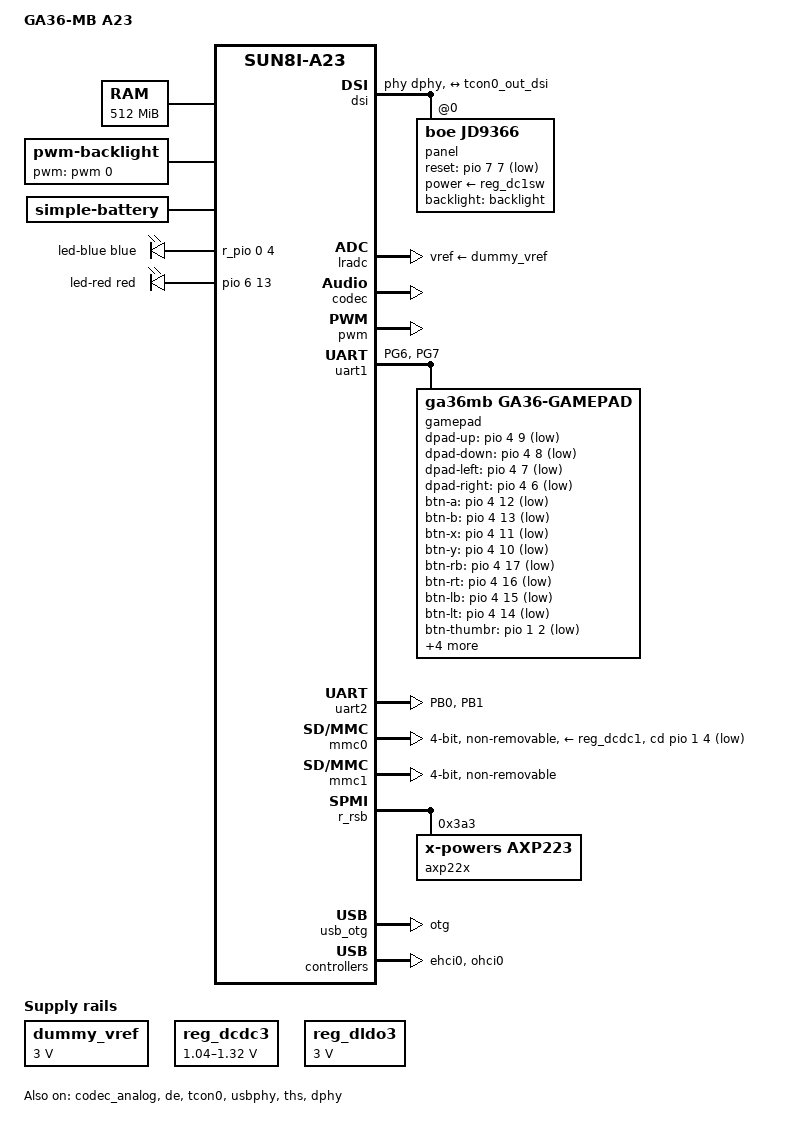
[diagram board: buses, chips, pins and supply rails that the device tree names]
/dts-v1/;
#include "sun8i-a23.dtsi"
#include <dt-bindings/input/linux-event-codes.h>
#include <dt-bindings/gpio/gpio.h>
#include <dt-bindings/leds/common.h>

/ {
    model = "GA36-MB A23";
    compatible = "ga36mb,ga36mb-a23-handheld",
    "allwinner,sun8i-a23";

    aliases {
        /* Map ttyS0 to UART1 and ttyS1 to UART2 */
        serial0 = &uart1;
        serial1 = &uart2;

        mmc0 = &mmc0;
        mmc1 = &mmc1;
    };
    chosen {
        /* Point default output to serial1 (UART2) */
        stdout-path = "serial1:115200n8";
    };
    memory@40000000 {
        device_type = "memory";
        reg = <0x40000000 0x20000000>; /* VERIFY */
    };

    soc {
        ths: ths@1c25000 {
			compatible = "allwinner,sun8i-a33-ths";
			reg = <0x01c25000 0x100>;
			#thermal-sensor-cells = <0>;
			#io-channel-cells = <0>;
		};

		dsi: dsi@1ca0000 {
			compatible = "allwinner,sun6i-a31-mipi-dsi";
			reg = <0x01ca0000 0x1000>;
			interrupts = <GIC_SPI 89 IRQ_TYPE_LEVEL_HIGH>;
			clocks = <&ccu CLK_BUS_MIPI_DSI>,
				 <&ccu CLK_DSI_SCLK>;
			clock-names = "bus", "mod";
			resets = <&ccu RST_BUS_MIPI_DSI>;
			phys = <&dphy>;
			phy-names = "dphy";
			status = "disabled";
			#address-cells = <1>;
			#size-cells = <0>;

			port {
				dsi_in_tcon0: endpoint {
					remote-endpoint = <&tcon0_out_dsi>;
				};
			};
		};

		dphy: d-phy@1ca1000 {
			compatible = "allwinner,sun6i-a31-mipi-dphy";
			reg = <0x01ca1000 0x1000>;
			interrupts = <GIC_SPI 89 IRQ_TYPE_LEVEL_HIGH>;
			clocks = <&ccu CLK_BUS_MIPI_DSI>,
				 <&ccu CLK_DSI_DPHY>;
			clock-names = "bus", "mod";
			resets = <&ccu RST_BUS_MIPI_DSI>;
			status = "disabled";
			#phy-cells = <0>;
		};
    };

    backlight: backlight {
        compatible = "pwm-backlight";
        pwms = <&pwm 0 50000 0>; /* fex: lcd_pwm_ch = 0, lcd_pwm_freq = 20000 Hz -> 50000 ns, lcd_pwm_pol = 0 -> non-inverted */
        brightness-levels = <0 10 20 30 40 50 60 70 80 90 100>;
        default-brightness-level = <5>;	/* fex: lcd0_bright = 50 */
        //power-supply = <&reg_dc1sw>;	/* fex: lcd_power = axp22_dc1sw */
    };

    bat: battery {
        compatible = "simple-battery";
        charge-full-design-microamp-hours = <3000000>; /* fex: pmu_battery_cap = 3000 */
        factory-internal-resistance-micro-ohms = <119000>; /* fex: pmu_battery_rdc = 119 */

        /* Standard lipo battery extrema. I didn't pull this from the fex but every cheap lipo ever has these same values. */
        voltage-max-design-microvolt = <4200000>; /* 4.2V fully charged */
        voltage-min-design-microvolt = <3300000>; /* 3.3V safe cutoff */
    };

    dummy_vref: dummy-lradc-vref {
        /* Needed for the `lradc` node to function */
		compatible = "regulator-fixed";
		regulator-name = "dummy-lradc-vref";
		regulator-min-microvolt = <3000000>;
		regulator-max-microvolt = <3000000>;
	};

	leds {
        compatible = "gpio-leds";

        led-blue {
            function = LED_FUNCTION_STATUS;
            color = <LED_COLOR_ID_BLUE>;
            gpios = <&r_pio 0 4 GPIO_ACTIVE_HIGH>;
            default-state = "off";
        };

        led-red {
            function = LED_FUNCTION_INDICATOR;
            color = <LED_COLOR_ID_RED>;
            gpios = <&pio 6 13 GPIO_ACTIVE_HIGH>;
            default-state = "off";
        };
    };

};

&tcon0_out {
	#address-cells = <1>;
	#size-cells = <0>;

	tcon0_out_dsi: endpoint@1 {
		reg = <1>;
		remote-endpoint = <&dsi_in_tcon0>;
	};
};

/* Volume buttons */
&lradc {
	vref-supply = <&dummy_vref>;
	status = "okay";
    autorepeat;

	button-200 {
		label = "Volume Up Key";
		linux,code = <115>; /* KEY_VOLUMEUP */
		channel = <0>;
		voltage = <200000>;
	};

	button-400 {
		label = "Volume Down Key";
		linux,code = <114>; /* KEY_VOLUMEDOWN */
		channel = <0>;
		voltage = <400000>;
	};
};


&ths {
    status = "okay";
};

&codec {
    status = "okay";
    allwinner,audio-routing = "Speaker", "HP";
    allwinner,pa-gpios = <&pio 7 9 GPIO_ACTIVE_HIGH>; /* PH09 */
};

&codec_analog {
	status = "okay";
};

&pwm {
    pinctrl-names = "default";
    pinctrl-0 = <&pwm0_pin>;	/* PH0, fex [pwm0_para] */
    status = "okay";
};

&pio {
    /* I think this is correct? */
    vcc-pf-supply = <&reg_dcdc1>;
    vcc-pg-supply = <&reg_dcdc1>;
    vcc-ph-supply = <&reg_dcdc1>;
    vcc-pb-supply = <&reg_dcdc1>;

    uart1_pg_pins: uart1-pg-pins {
        pins = "PG6", "PG7";
        function = "uart1";
    };

    uart2_pb_pins: uart2-pb-pins {
        pins = "PB0", "PB1";
        function = "uart2";
    };

    usb0_id_det_pin: usb0-id-det-pin {
        pins = "PH8";
        function = "gpio_in";
        bias-pull-up;
    };
};

&dsi {
    status = "okay";
    vcc-dsi-supply = <&reg_dldo3>;

    panel@0 {
        compatible = "boe,jd9366";
        panel-id = <1>;
        reg = <0>;
        power-supply = <&reg_dc1sw>;
        reset-gpios = <&pio 7 7 GPIO_ACTIVE_LOW>;
        backlight = <&backlight>;
    };
};

&de {
    status = "okay";
};

&tcon0 {
    status = "okay";
};

&dphy {
    status = "okay";
    vcc-supply = <&reg_dldo3>;
};

&uart1 {
    pinctrl-names = "default";
    pinctrl-0 = <&uart1_pg_pins>;
    status = "okay";

    gamepad: serial-gamepad {
        compatible = "ga36mb,ga36-gamepad";

        dpad-up-gpios = <&pio 4 9 GPIO_ACTIVE_LOW>;
        dpad-down-gpios = <&pio 4 8 GPIO_ACTIVE_LOW>;
        dpad-left-gpios = <&pio 4 7 GPIO_ACTIVE_LOW>;
        dpad-right-gpios = <&pio 4 6 GPIO_ACTIVE_LOW>;
        btn-a-gpios = <&pio 4 12 GPIO_ACTIVE_LOW>;
        btn-b-gpios = <&pio 4 13 GPIO_ACTIVE_LOW>;
        btn-x-gpios = <&pio 4 11 GPIO_ACTIVE_LOW>;
        btn-y-gpios = <&pio 4 10 GPIO_ACTIVE_LOW>;
        btn-rb-gpios = <&pio 4 17 GPIO_ACTIVE_LOW>;
        btn-rt-gpios = <&pio 4 16 GPIO_ACTIVE_LOW>;
        btn-lb-gpios = <&pio 4 15 GPIO_ACTIVE_LOW>;
        btn-lt-gpios = <&pio 4 14 GPIO_ACTIVE_LOW>;
        btn-thumbr-gpios = <&pio 1 2 GPIO_ACTIVE_LOW>;
        btn-thumbl-gpios = <&pio 1 3 GPIO_ACTIVE_LOW>;
        btn-start-gpios = <&pio 4 4 GPIO_ACTIVE_LOW>;
        btn-select-gpios = <&pio 4 5 GPIO_ACTIVE_LOW>;
        btn-fn-gpios = <&pio 4 1 GPIO_ACTIVE_LOW>;

        /*
         * Both left stick axes are inverted by the driver by default.
         * Uncomment to report an axis as-is on units where it is not inverted.
         */
        // ga36mb,left-stick-no-invert-x;
        // ga36mb,left-stick-no-invert-y;
    };
};

&uart2 {
    pinctrl-names = "default";
    pinctrl-0 = <&uart2_pb_pins>;
    status = "okay";
};

&mmc0 {
    pinctrl-names = "default";
    non-removable;
    bus-width = <4>;
    cd-gpios = <&pio 1 4 GPIO_ACTIVE_LOW>;
    pinctrl-0 = <&mmc0_pins>;
    vmmc-supply = <&reg_dcdc1>;
    status = "okay";
};
&mmc1 {
    bus-width = <4>;
    non-removable;
    pinctrl-names = "default";
    pinctrl-0 = <&mmc1_pg_pins>;
    status = "okay";
};

&r_rsb_pins {
    bias-pull-up;
};

&r_rsb {
    status = "okay";
    axp22x: pmic@3a3 {
        compatible = "x-powers,axp223";
        reg = <0x3a3>;
        // lets the kernel cut the power at the end of a shutdown; without it poweroff only halts
        // the CPU, leaving the screen dark with the backlight on
        x-powers,system-power-controller;
        interrupt-parent = <&r_intc>;
        interrupts = <GIC_SPI 32 IRQ_TYPE_LEVEL_LOW>;
    };
};


&cpu0 {
    cpu-supply = <&reg_dcdc3>;
    #cooling-cells = <2>;
};


// The base sun8i-a33.dtsi's opp table only goes up to 1.008ghz.
// The CPU can safely scale up to 1.5ghz, but for stability (and thermal) reasons, we're just going to let it go up to 1.2 for now.
// TODO: stress test the cpu with passive cooling at 1.5ghz.
// &cpu0_opp_table {
//     opp-1104000000 {
//         opp-hz = /bits/ 64 <1104000000>;
//         opp-microvolt = <1320000>;
//         clock-latency-ns = <244144>;
//     };
//     opp-1200000000 {
//         opp-hz = /bits/ 64 <1200000000>;
//         opp-microvolt = <1320000>;
//         clock-latency-ns = <244144>;
//     };
// };

#include "axp223.dtsi"


&battery_power_supply {
    status = "okay";
    monitored-battery = <&bat>;
};

&usb_power_supply {
    status = "okay";
};

&reg_aldo2 {
    regulator-always-on;
    // regulator-min-microvolt = <2500000>;
    // regulator-max-microvolt = <2500000>;
    regulator-name = "vcc-aldo2";
};

&reg_aldo3 {
    regulator-always-on;
    // regulator-min-microvolt = <3000000>;
    // regulator-max-microvolt = <3000000>;
    regulator-name = "vcc-aldo3";
};

&reg_dcdc1 {
    regulator-always-on;
    // regulator-min-microvolt = <3300000>;
    // regulator-max-microvolt = <3300000>;
    regulator-name = "vcc-io";
};

&reg_dcdc2 {
    regulator-always-on;
    // regulator-min-microvolt = <1100000>;
    // regulator-max-microvolt = <1100000>;
    regulator-name = "vdd-sys";
};


&reg_dcdc3 {
    regulator-always-on;
    regulator-min-microvolt = <1040000>;
    regulator-max-microvolt = <1320000>;
    regulator-name = "vdd-cpu";
};


&reg_dcdc5 {
    regulator-always-on;
    // regulator-min-microvolt = <1500000>;
    // regulator-max-microvolt = <1500000>;
    regulator-name = "vcc-dram";
};

&reg_dldo3 {
    //regulator-always-on;
    //regulator-boot-on;
    //regulator-init-microvolt = <0>;
    regulator-min-microvolt = <3000000>;
    regulator-max-microvolt = <3000000>;
    regulator-name = "vcc-dldo3";
};

&reg_dc1sw {
    //regulator-always-on;
    regulator-boot-on;
    regulator-name = "vcc-lcd";	/* fex: lcd_power = axp22_dc1sw */
};

&reg_aldo1 {
    regulator-always-on;
    regulator-name = "vcc-aldo1";
};

&reg_dc5ldo {
    regulator-always-on;
    regulator-name = "vdd-cpus-dc5ldo";
};

/* USB OTG port in host mode, per fex [usbc0] */
&reg_drivevbus {
    regulator-name = "usb0-vbus";
    status = "okay";
};

&usb_otg {
    dr_mode = "otg";
    status = "okay";
};

&usbphy {
    pinctrl-names = "default";
    pinctrl-0 = <&usb0_id_det_pin>;
    usb0_id_det-gpios = <&pio 7 8 GPIO_ACTIVE_HIGH>;
    usb0_vbus_power-supply = <&usb_power_supply>;
    usb0_vbus-supply = <&reg_drivevbus>;
    status = "okay";
};

&ehci0 {
    status = "okay";
};

&ohci0 {
    status = "okay";
};
